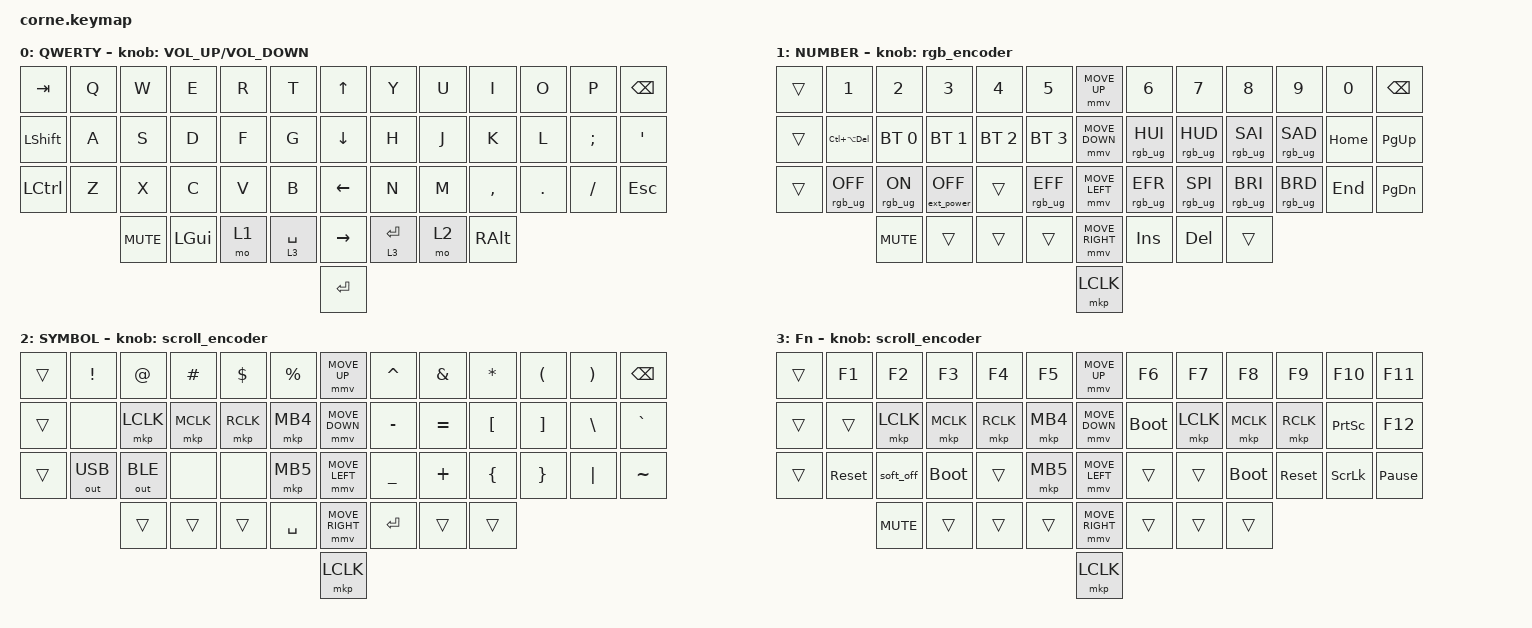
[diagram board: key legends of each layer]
#include <behaviors/mouse_keys.dtsi>
#include <behaviors.dtsi>
#include <dt-bindings/zmk/bt.h>
#include <dt-bindings/zmk/ext_power.h>
#include <dt-bindings/zmk/keys.h>
#include <dt-bindings/zmk/mouse.h>
#include <dt-bindings/zmk/outputs.h>
#include <dt-bindings/zmk/rgb.h>

#define ZMK_MOUSE_DEFAULT_MOVE_VAL 1200  // 600
#define ZMK_MOUSE_DEFAULT_SCRL_VAL 20    // 10
#define U_MS_U &mmv MOVE_UP
#define U_MS_D &mmv MOVE_DOWN
#define U_MS_L &mmv MOVE_LEFT
#define U_MS_R &mmv MOVE_RIGHT

/ {
    behaviors {
        td0: td0 {
            compatible = "zmk,behavior-tap-dance";
            label = "TD0";
            #binding-cells = <0>;
            bindings = <&kp LEFT_SHIFT>, <&kp CAPS>;
        };

        mmv {
            acceleration-exponent = <1>;      // 1
            time-to-max-speed-ms = <900>;    // 40
            delay-ms = <0>;                   // 0
        };

        msc {
            acceleration-exponent = <1>;      // 0
            time-to-max-speed-ms = <400>;      // 500
            delay-ms = <0>;                   // 10
        };
    };

    rgb_encoder: rgb_encoder {
        compatible = "zmk,behavior-sensor-rotate";
        label = "RGB_ENCODER";
        #sensor-binding-cells = <0>;
        bindings = <&rgb_ug RGB_BRI>, <&rgb_ug RGB_BRD>;
    };

    scroll_encoder: scroll_encoder {
        compatible = "zmk,behavior-sensor-rotate";
        #sensor-binding-cells = <0>;
        bindings = <&msc SCRL_DOWN>, <&msc SCRL_UP>;

        tap-ms = <30>;
    };

    combos {
        compatible = "zmk,combos";

        caps {
            bindings = <&kp CAPS>;
            key-positions = <13 14>;
        };

        btclr {
            bindings = <&bt BT_CLR>;
            key-positions = <0 13 26>;
        };

        m1 {
            bindings = <&mkp MB1>;
            key-positions = <16 17>;
        };

        backspace {
            bindings = <&kp BACKSPACE>;
            key-positions = <23 24>;
        };

        baakspace {
            bindings = <&kp LC(BSPC)>;
            key-positions = <10 11>;
        };
    };

    keymap {
        compatible = "zmk,keymap";

        default_layer {
            display-name = "QWERTY";

            // --------------------------------------------------------------------------------
            // |  TAB |  Q  |  W  |  E  |  R  |  T  |                ↑    |  Y  |  U   |  I  |  O  |  P  | BKSP |      &kp UP_ARROW 
            // | SHIFT |  A  |  S  |  D  |  F  |  G  |               ↓    |  H  |  J   |  K  |  L  |  ;  |  '   | 
            // | CTRL |  Z  |  X  |  C  |  V  |  B  |                ←    |  N  |  M   |  ,  |  .  |  /  | ESC  |
            //                    | GUI | LWR | SPC |                →    | ENT | RSE  | ALT |
            //                                                      enter

            bindings = <
&kp TAB         &kp Q  &kp W       &kp E     &kp R  &kp T          &kp UP_ARROW     &kp Y        &kp U  &kp I      &kp O    &kp P     &kp BSPC
&kp LEFT_SHIFT  &kp A  &kp S       &kp D     &kp F  &kp G          &kp DOWN_ARROW   &kp H        &kp J  &kp K      &kp L    &kp SEMI  &kp SQT
&kp LCTRL       &kp Z  &kp X       &kp C     &kp V  &kp B          &kp LEFT_ARROW   &kp N        &kp M  &kp COMMA  &kp DOT  &kp FSLH  &kp ESC
                       &kp C_MUTE  &kp LGUI  &mo 1  &lt 3 SPACE    &kp RIGHT_ARROW  &lt 3 ENTER  &mo 2  &kp RALT
                                                                   &kp ENTER
            >;

            label = "QWERTY";
            sensor-bindings = <&inc_dec_kp C_VOLUME_UP C_VOLUME_DOWN>;
        };

        lower_layer {
            display-name = "NUMBER";

            // -----------------------------------------------------------------------------------------
            // |  TAB |  1  |  2  |  3  |  4  |  5  |   |  6  |  7  |  8  |  9  |  0  | BKSP |
            // | BTCLR| BT1 | BT2 | BT3 | BT4 | BT5 |   | LFT | DWN |  UP | RGT |     |      |
            // | SHFT |     |     |     |     |     |   |     |     |     |     |     |      |
            //                    | GUI |     | SPC |   | ENT |     | ALT |

            bindings = <
&trans  &kp N1           &kp N2          &kp N3             &kp N4        &kp N5             &mmv MOVE_UP     &kp N6           &kp N7           &kp N8           &kp N9           &kp N0    &kp BSPC
&trans  &kp LC(LA(DEL))  &bt BT_SEL 0    &bt BT_SEL 1       &bt BT_SEL 2  &bt BT_SEL 3       &mmv MOVE_DOWN   &rgb_ug RGB_HUI  &rgb_ug RGB_HUD  &rgb_ug RGB_SAI  &rgb_ug RGB_SAD  &kp HOME  &kp PG_UP
&trans  &rgb_ug RGB_OFF  &rgb_ug RGB_ON  &ext_power EP_OFF  &trans        &rgb_ug RGB_EFF    &mmv MOVE_LEFT   &rgb_ug RGB_EFR  &rgb_ug RGB_SPI  &rgb_ug RGB_BRI  &rgb_ug RGB_BRD  &kp END   &kp PG_DN
                         &kp C_MUTE      &trans             &trans        &trans             &mmv MOVE_RIGHT  &kp INS          &kp DEL          &trans
                                                                                             &mkp LCLK
            >;

            label = "NUMBER";
            sensor-bindings = <&rgb_encoder>;
        };

        raise_layer {
            display-name = "SYMBOL";

            // -----------------------------------------------------------------------------------------
            // |  TAB |  !  |  @  |  #  |  $  |  %  |   |  ^  |  &  |  *  |  (  |  )  | BKSP |
            // | CTRL |     |     |     |     |     |   |  -  |  =  |  [  |  ]  |  \  |  `   |
            // | SHFT |     |     |     |     |     |   |  _  |  +  |  {  |  }  | "|" |  ~   |
            //                    | GUI |     | SPC |   | ENT |     | ALT |

            bindings = <
&trans  &kp EXCL      &kp AT        &kp HASH   &kp DLLR   &kp PRCNT    &mmv MOVE_UP     &kp CARET  &kp AMPS   &kp ASTRK  &kp LPAR  &kp RPAR  &kp BSPC
&trans  &none         &mkp LCLK     &mkp MCLK  &mkp RCLK  &mkp MB4     &mmv MOVE_DOWN   &kp MINUS  &kp EQUAL  &kp LBKT   &kp RBKT  &kp BSLH  &kp GRAVE
&trans  &out OUT_USB  &out OUT_BLE  &none      &none      &mkp MB5     &mmv MOVE_LEFT   &kp UNDER  &kp PLUS   &kp LBRC   &kp RBRC  &kp PIPE  &kp TILDE
                      &trans        &trans     &trans     &kp SPACE    &mmv MOVE_RIGHT  &kp RET    &trans     &trans
                                                                       &mkp LCLK
            >;

            label = "SYMBOL";
            sensor-bindings = <&scroll_encoder>;
        };

        layer_3 {
            display-name = "Fn";
            bindings = <
&trans  &kp F1      &kp F2      &kp F3       &kp F4     &kp F5      &mmv MOVE_UP     &kp F6       &kp F7     &kp F8       &kp F9      &kp F10          &kp F11
&trans  &trans      &mkp LCLK   &mkp MCLK    &mkp RCLK  &mkp MB4    &mmv MOVE_DOWN   &bootloader  &mkp LCLK  &mkp MCLK    &mkp RCLK   &kp PRINTSCREEN  &kp F12
&trans  &sys_reset  &soft_off   &bootloader  &trans     &mkp MB5    &mmv MOVE_LEFT   &trans       &trans     &bootloader  &sys_reset  &kp SCROLLLOCK   &kp PAUSE_BREAK
                    &kp C_MUTE  &trans       &trans     &trans      &mmv MOVE_RIGHT  &trans       &trans     &trans
                                                                    &mkp LCLK
            >;

            label = "FN";
            sensor-bindings = <&scroll_encoder>;
        };
    };
};
